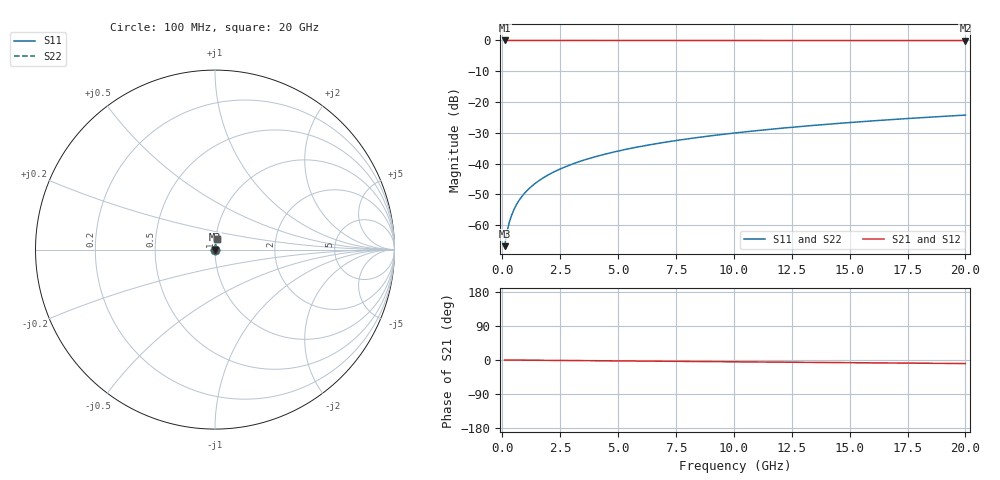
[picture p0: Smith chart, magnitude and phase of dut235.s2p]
! Touchstone file exported from HFSS 2026.1.0
!  File:  C:/ffzhzh/LocalFiles/Ansys_Project_Files/temp_train_TSV_235_1782992480_42984.aedt
!  Generated:  07:43:08 PM Jul  2, 2026
!  Design:  TSV
!  Project:  temp_train_TSV_235_1782992480_42984
! Variables:
!  h_bsmrdl = 2um
!  h_ox = 20um
!  h_rdl = 5um
!  h_sub = 86.43um
!  h_tmrdl = 5um
!  h_tsv = 86.43um
!  h_via = 3um
!  l_bsmrdl = 300um
!  l_sub = 412.58um
!  l_tmrdl = 200um
!  m_sub = 200um
!  pitch = 44.05um
!  r_tsv = 6.29um
!  s_tmrdl = 10um
!  w_bsmrdl = 18um
!  w_sub = 500um
!  w_tmrdl = 12um
!  x_tsv_center1 = 206um
!  x_tsv_center2 = 524um
!  x_tsv_center3 = 736um
!  x_tsv_center4 = 1054um
!  x_tsv_center5 = 1266um
!  x_tsv_center6 = 1584um
# GHz S MA R 50.000000
! Terminal data exported
! Port[1] = TSV1_1_T1
! Port[2] = TSV1_1_T2
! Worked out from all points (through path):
!   200 points, 100 MHz to 20 GHz, reference 50 ohm
!   highest |S21| = 0.00 dB at 100 MHz (marker M1); lowest = 0.0 dB at 20 GHz (marker M2)
!   group delay of S21, straight-line fit = 1.3 ps
!   lowest |S11| = -66.9 dB at 100 MHz (marker M3), VSWR 1.00, Z = 50 + j0.0354 ohm
!   |S11| at or under -10 dB: start of sweep to end of sweep
!   |S22| runs from -66.9 to -24.3 dB; largest |S21 - S12| = 4.5e-15
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0.1  0.0004537 51.2  0.9997 -0.0  0.9997 -0.0  0.0004537 51.2
! Gamma 0 0 0 0
! Port Impedance 50 0 50 0
0.2  0.0007646 67.3  0.9997 -0.1  0.9997 -0.1  0.0007646 67.3
0.3  0.001099 73.5  0.9997 -0.1  0.9997 -0.1  0.001099 73.5
0.4  0.001437 76.6  0.9997 -0.2  0.9997 -0.2  0.001437 76.6
0.5  0.001773 78.4  0.9997 -0.2  0.9997 -0.2  0.001773 78.4
0.6  0.002107 79.5  0.9996 -0.3  0.9996 -0.3  0.002107 79.5
0.7  0.002437 80.3  0.9996 -0.3  0.9996 -0.3  0.002437 80.3
0.8  0.002764 80.9  0.9996 -0.4  0.9996 -0.4  0.002764 80.9
1  0.003411 81.8  0.9995 -0.5  0.9995 -0.5  0.003411 81.8
1.4  0.004687 82.8  0.9995 -0.7  0.9995 -0.7  0.004687 82.8
1.7  0.005636 83.3  0.9994 -0.8  0.9994 -0.8  0.005636 83.3
2  0.006583 83.7  0.9994 -1.0  0.9994 -1.0  0.006583 83.7
2.7  0.008784 84.1  0.9993 -1.3  0.9993 -1.3  0.008784 84.1
3.5  0.01129 84.3  0.9991 -1.7  0.9991 -1.7  0.01129 84.3
4.2  0.01347 84.3  0.999 -2.0  0.999 -2.0  0.01347 84.3
5  0.01594 84.2  0.9989 -2.4  0.9989 -2.4  0.01594 84.2
6.8  0.02147 83.8  0.9986 -3.2  0.9986 -3.2  0.02147 83.8
8.3  0.02605 83.4  0.9984 -3.9  0.9984 -3.9  0.02605 83.4
10.1  0.03153 82.8  0.9981 -4.8  0.9981 -4.8  0.03153 82.8
13.4  0.04151 81.6  0.9976 -6.3  0.9976 -6.3  0.04151 81.6
16.7  0.05143 80.2  0.997 -7.8  0.997 -7.8  0.05143 80.2
20  0.06124 78.8  0.9962 -9.4  0.9962 -9.4  0.06124 78.8
